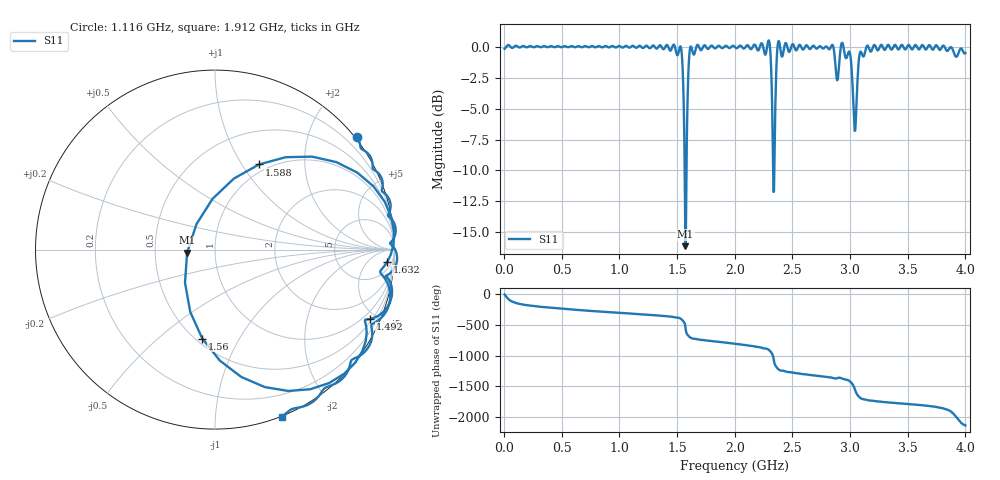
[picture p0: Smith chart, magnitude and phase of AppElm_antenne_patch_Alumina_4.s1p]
! TOUCHSTONE file generated by CST MICROWAVE STUDIO
! Date and time: Thu Jun  9 16:03:39 2022
! Project name: AppElm_antenne_patch_Alumina.cst
! Parameters = {L=30.5; W=41.8; e=0.035; h=1.6; lambda=0.190476; ls=81; w0=1.12; w1=0.373; ws=90; y0=14; y1=10}
! Header version: 2018
! Port assignment regex: !\s*Touchstone port\s*([0-9]+)\s*=\s*(CST MWS port|CST DS port)\s*([0-9]+|Zmin|Zmax)\s*\(\"(.*)\"\)(\s*mode\s*([0-9]+))?.*
! Touchstone port assignment:
! Touchstone port 1 = CST MWS port 1 ("")
# GHz S MA R 50
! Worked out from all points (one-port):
!   1000 points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, 4 MHz to 4 GHz, reference 50 ohm
!   lowest |S11| = -16.1 dB at 1.572 GHz (marker M1), VSWR 1.37, Z = 36.5 - j1.31 ohm
!   |S11| at or under -10 dB: 1.566 GHz to 1.581 GHz (15.53 MHz wide, 0.987 % of centre); 2.333077 GHz to 2.342824 GHz (9.747 MHz wide, 0.417 % of centre)
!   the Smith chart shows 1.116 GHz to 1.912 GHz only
!   S11 on the Smith chart (normalised r, x): 1.116 GHz: -0.04, +2.88; 1.492 GHz: 0.60, -4.63; 1.56 GHz: 0.54, -0.71; 1.588 GHz: 0.90, +1.19; 1.632 GHz: 12, -22; 1.912 GHz: -0.00, -1.48
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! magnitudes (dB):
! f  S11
! 4 MHz  -0.2
! 504 MHz  0.0
! 1.004 GHz  0.0
! 1.116 GHz  0.1
! 1.492 GHz  -0.5
! 1.504 GHz  -0.7
! 1.536 GHz  -0.2
! 1.56 GHz  -6.0
! 1.572 GHz  -16.1
! 1.588 GHz  -5.4
! 1.608 GHz  -0.4
! 1.632 GHz  -0.3
! 1.912 GHz  0.0
! 2.004 GHz  -0.1
! 2.292 GHz  0.5
! 2.304 GHz  0.1
! 2.336 GHz  -11.7
! 2.348 GHz  -6.7
! 2.38 GHz  0.5
! 2.504 GHz  0.2
! 2.84 GHz  0.1
! 2.888 GHz  -2.7
! 2.936 GHz  0.2
! 3.004 GHz  -0.8
! 3.044 GHz  -6.8
! 3.096 GHz  -0.4
! 3.504 GHz  0.1
! 4 GHz  -0.5
